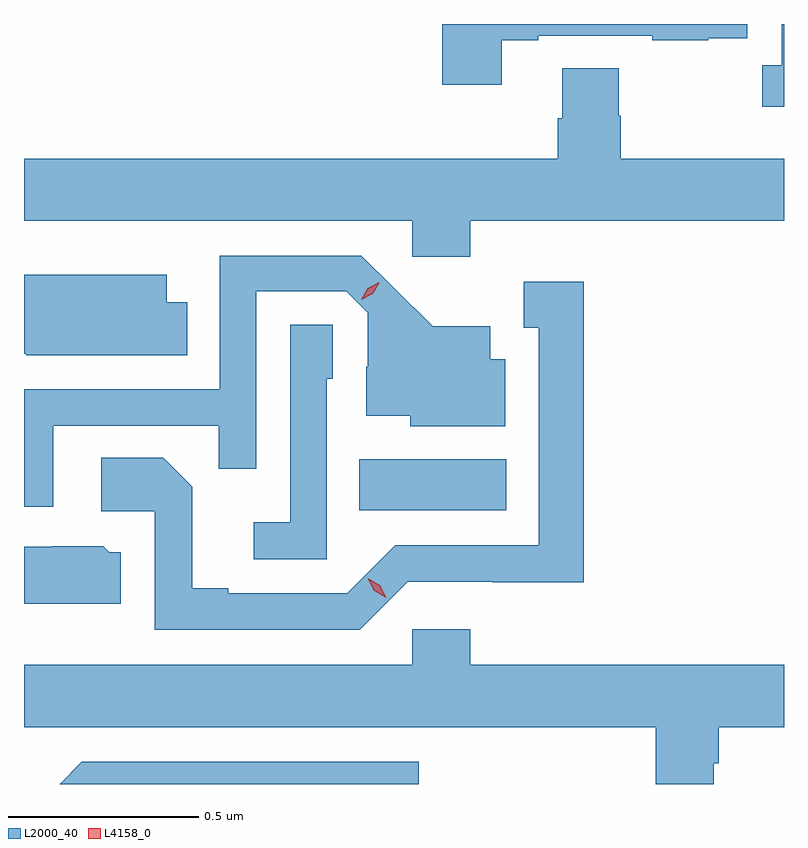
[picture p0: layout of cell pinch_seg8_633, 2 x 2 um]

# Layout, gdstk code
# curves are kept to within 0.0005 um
import gdstk
lib = gdstk.Library(unit=1e-6, precision=1e-09)
def R(c, l, rs):  # rectangles x0, y0, x1, y1
    for r in rs: c.add(gdstk.rectangle(r[:2], r[2:], *l))
def P(c, l, *ps):  # polygons
    for p in ps: c.add(gdstk.Polygon(p, *l))
L2000_40 = (2000, 40)
L4158_0 = (4158, 0)

pinch_seg8_633 = lib.new_cell('pinch_seg8_633')
R(pinch_seg8_633, L2000_40, [(155.128,1099.754,155.515,1099.888)])
P(pinch_seg8_633, L2000_40, [(156.246,1101.034),(156.24,1101.034),(156.24,1100.926),(156.189,1100.926),(156.189,1100.816),(156.246,1100.816)],
  [(155.503,1100.991),(155.599,1100.991),(155.599,1101.003),(155.899,1101.003),(155.899,1100.991),(156.047,1100.991),(156.047,1100.997),(156.149,1100.997),(156.149,1101.034),(155.347,1101.034),(155.347,1100.874),(155.503,1100.874)],
  [(155.42,1100.516),(156.246,1100.516),(156.246,1100.68),(155.816,1100.68),(155.816,1100.793),(155.811,1100.793),(155.811,1100.918),(155.663,1100.918),(155.663,1100.786),(155.651,1100.786),(155.651,1100.68),(154.246,1100.68),(154.246,1100.516),(155.268,1100.516),(155.268,1100.421),(155.42,1100.421)],
  [(154.323,1099.977),(154.759,1099.977),(154.759,1099.864),(154.857,1099.864),(154.857,1100.331),(155.094,1100.331),(155.151,1100.274),(155.151,1100.132),(155.147,1100.132),(155.147,1100.003),(155.262,1100.003),(155.262,1099.976),(155.512,1099.976),(155.512,1100.152),(155.473,1100.152),(155.473,1100.239),(155.321,1100.239),(155.134,1100.424),(154.761,1100.424),(154.761,1100.073),(154.246,1100.073),(154.246,1099.764),(154.323,1099.764)],
  [(154.676,1100.302),(154.621,1100.302),(154.621,1100.374),(154.246,1100.374),(154.246,1100.166),(154.252,1100.166),(154.252,1100.162),(154.676,1100.162)],
  [(155.256,1099.566),(155.478,1099.566),(155.478,1099.565),(155.719,1099.565),(155.719,1100.356),(155.561,1100.356),(155.561,1100.235),(155.6,1100.235),(155.6,1099.662),(155.223,1099.662),(155.097,1099.536),(154.783,1099.536),(154.783,1099.549),(154.689,1099.549),(154.689,1099.816),(154.613,1099.892),(154.449,1099.892),(154.449,1099.752),(154.59,1099.752),(154.59,1099.44),(155.13,1099.44)],
  [(155.043,1100.1),(155.058,1100.1),(155.058,1100.243),(154.947,1100.243),(154.947,1099.723),(154.851,1099.723),(154.851,1099.626),(155.043,1099.626)],
  [(154.501,1099.644),(154.47,1099.644),(154.454,1099.66),(154.32,1099.66),(154.32,1099.659),(154.246,1099.659),(154.246,1099.508),(154.501,1099.508)],
  [(155.268,1099.441),(155.268,1099.348),(154.246,1099.348),(154.246,1099.184),(155.909,1099.184),(155.909,1099.034),(156.061,1099.034),(156.061,1099.088),(156.074,1099.088),(156.074,1099.184),(156.246,1099.184),(156.246,1099.348),(155.42,1099.348),(155.42,1099.441)],
  [(155.285,1099.092),(154.398,1099.092),(154.34,1099.034),(155.285,1099.034)])
P(pinch_seg8_633, L4158_0, [(155.199,1099.524),(155.168,1099.543),(155.151,1099.576),(155.151,1099.576),(155.151,1099.576),(155.182,1099.557),(155.199,1099.524),(155.199,1099.524)],
  [(155.133,1100.309),(155.133,1100.309),(155.15,1100.338),(155.181,1100.354),(155.181,1100.354),(155.181,1100.353),(155.164,1100.324),(155.133,1100.309)])

lib.write_gds('pinch_seg8_633.gds')
